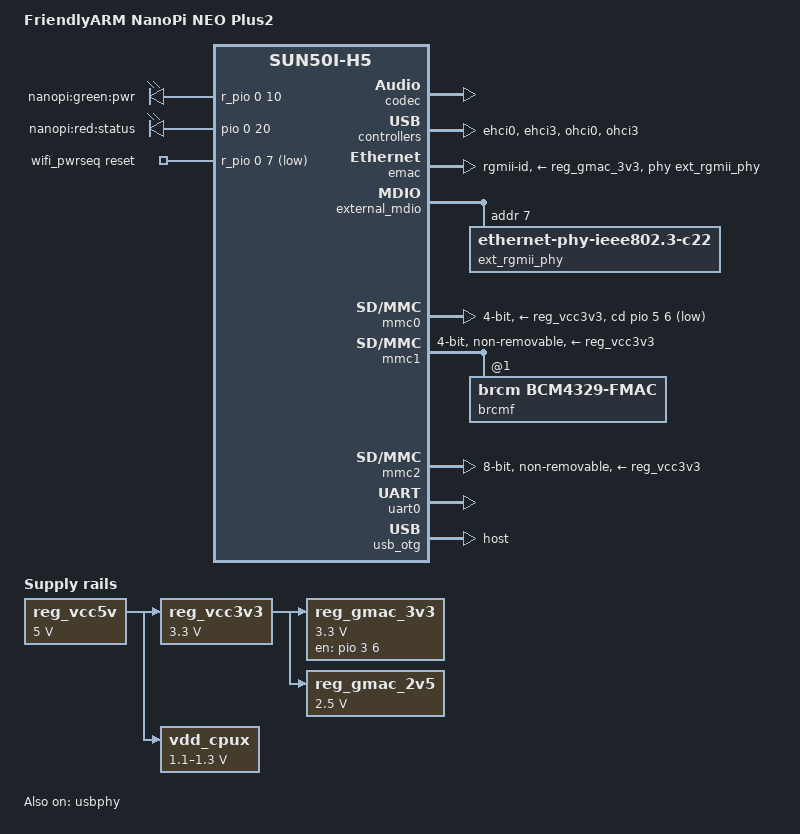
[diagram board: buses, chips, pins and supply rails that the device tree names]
// SPDX-License-Identifier: (GPL-2.0+ OR MIT)
// Copyright (C) 2017 Antony Antony <antony@phenome.org>
// Copyright (C) 2016 ARM Ltd.

/dts-v1/;
#include "sun50i-h5.dtsi"

#include <dt-bindings/gpio/gpio.h>
#include <dt-bindings/input/input.h>
#include <dt-bindings/pinctrl/sun4i-a10.h>

/ {
	model = "FriendlyARM NanoPi NEO Plus2";
	compatible = "friendlyarm,nanopi-neo-plus2", "allwinner,sun50i-h5";

	aliases {
		ethernet0 = &emac;
		serial0 = &uart0;
	};

	chosen {
		stdout-path = "serial0:115200n8";
	};

	leds {
		compatible = "gpio-leds";

		led-0 {
			label = "nanopi:green:pwr";
			gpios = <&r_pio 0 10 GPIO_ACTIVE_HIGH>;
			default-state = "on";
		};

		led-1 {
			label = "nanopi:red:status";
			gpios = <&pio 0 20 GPIO_ACTIVE_HIGH>;
		};
	};

	reg_gmac_3v3: gmac-3v3 {
		compatible = "regulator-fixed";
		regulator-name = "gmac-3v3";
		regulator-min-microvolt = <3300000>;
		regulator-max-microvolt = <3300000>;
		startup-delay-us = <100000>;
		enable-active-high;
		gpio = <&pio 3 6 GPIO_ACTIVE_HIGH>;
		vin-supply = <&reg_vcc3v3>;
	};

	reg_gmac_2v5: gmac-2v5 {
		/* 2V5 supply for GMAC PHY IO */
		compatible = "regulator-fixed";
		regulator-name = "gmac-2v5";
		regulator-min-microvolt = <2500000>;
		regulator-max-microvolt = <2500000>;
		regulator-always-on;
		vin-supply = <&reg_vcc3v3>;
	};

	reg_vcc5v: regulator-vcc5v {
		/* board 5V supply from micro USB or pin headers */
		compatible = "regulator-fixed";
		regulator-name = "vcc-5v";
		regulator-min-microvolt = <5000000>;
		regulator-max-microvolt = <5000000>;
		regulator-always-on;
	};

	reg_vcc3v3: vcc3v3 {
		/* board 3V3 supply by SY8089A */
		compatible = "regulator-fixed";
		regulator-name = "vcc3v3";
		regulator-min-microvolt = <3300000>;
		regulator-max-microvolt = <3300000>;
		regulator-always-on;
		vin-supply = <&reg_vcc5v>;
	};

	vdd_cpux: gpio-regulator {
		/* cpu voltage regulator MP2143DJ */
		compatible = "regulator-gpio";
		regulator-name = "vdd-cpux";
		regulator-type = "voltage";
		regulator-boot-on;
		regulator-always-on;
		regulator-min-microvolt = <1100000>;
		regulator-max-microvolt = <1300000>;
		regulator-ramp-delay = <50>; /* 4ms */
		gpios = <&r_pio 0 6 GPIO_ACTIVE_HIGH>;
		gpios-states = <0x1>;
		states = <1100000 0>, <1300000 1>;
		vin-supply = <&reg_vcc5v>;
	};

	wifi_pwrseq: pwrseq {
		compatible = "mmc-pwrseq-simple";
		reset-gpios = <&r_pio 0 7 GPIO_ACTIVE_LOW>; /* PL7 */
		post-power-on-delay-ms = <200>;
	};
};

&codec {
	allwinner,audio-routing =
		"Line Out", "LINEOUT",
		"MIC1", "Mic",
		"Mic",  "MBIAS";
	status = "okay";
};

&ehci0 {
	status = "okay";
};

&ehci3 {
	status = "okay";
};

&emac {
	pinctrl-names = "default";
	pinctrl-0 = <&emac_rgmii_pins>;
	phy-supply = <&reg_gmac_3v3>;
	phy-handle = <&ext_rgmii_phy>;
	phy-mode = "rgmii-id";
	status = "okay";
};

&external_mdio {
	ext_rgmii_phy: ethernet-phy@7 {
		compatible = "ethernet-phy-ieee802.3-c22";
		reg = <7>;
	};
};

&mmc0 {
	vmmc-supply = <&reg_vcc3v3>;
	bus-width = <4>;
	cd-gpios = <&pio 5 6 GPIO_ACTIVE_LOW>; /* PF6 */
	disable-wp;
	status = "okay";
};

&mmc1 {
	vmmc-supply = <&reg_vcc3v3>;
	vqmmc-supply = <&reg_vcc3v3>;
	mmc-pwrseq = <&wifi_pwrseq>;
	bus-width = <4>;
	non-removable;
	status = "okay";

	brcmf: wifi@1 {
		reg = <1>;
		compatible = "brcm,bcm4329-fmac";
	};
};

&mmc2 {
	pinctrl-names = "default";
	pinctrl-0 = <&mmc2_8bit_pins>;
	vmmc-supply = <&reg_vcc3v3>;
	bus-width = <8>;
	non-removable;
	cap-mmc-hw-reset;
	status = "okay";
};

&ohci0 {
	status = "okay";
};

&ohci3 {
	status = "okay";
};

&pio {
	vcc-pa-supply = <&reg_vcc3v3>;
	vcc-pc-supply = <&reg_vcc3v3>;
	vcc-pd-supply = <&reg_gmac_2v5>;
	vcc-pf-supply = <&reg_vcc3v3>;
	vcc-pg-supply = <&reg_vcc3v3>;
};

&r_pio {
	vcc-pl-supply = <&reg_vcc3v3>;
};

&uart0 {
	pinctrl-names = "default";
	pinctrl-0 = <&uart0_pa_pins>;
	status = "okay";
};

&usb_otg {
	dr_mode = "host";
	status = "okay";
};

&usbphy {
	/* USB Type-A ports' VBUS is always on */
	status = "okay";
};
